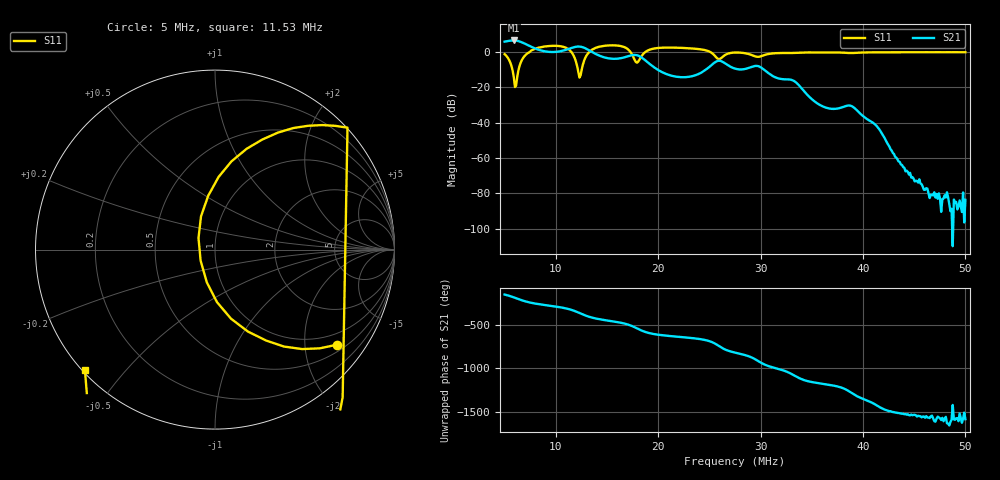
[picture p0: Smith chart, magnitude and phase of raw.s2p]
! S11/S21 only; reverse parameters are placeholders. Device calibration unverified.
! NanoVNA F V2 profile | COM3 | 2026-09-08T12:06:07.0468074-04:00 | device calibration unverified
# HZ S RI R 50
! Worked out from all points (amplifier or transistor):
!   401 points, 5 MHz to 50 MHz, reference 50 ohm
!   highest |S21| = 6.5 dB at 5.9 MHz (marker M1)
!   |S21| within 3 dB of that: start of sweep to 7.39 MHz
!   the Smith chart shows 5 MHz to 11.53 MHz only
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5000000  0.6781 -0.5301  -1.609 -1.1  0 0  0 0
5900000  -0.0458 -0.1822  -2.104 -0.0605  0 0  0 0
7250000  0.5978 0.6938  -0.9695 1.224  0 0  0 0
7812500  0.6777 -0.9535  -0.528 1.196  0 0  0 0
9950000  -0.0385 -1.484  0.238 0.9691  0 0  0 0
1.1525e7  -0.7249 -0.6697  1.025 0.7774  0 0  0 0
1.25375e7  0.2444 0.2075  1.355 -0.2503  0 0  0 0
1.3775e7  1.112 -0.5894  0.4682 -0.7817  0 0  0 0
1.6025e7  0.4927 -1.426  -0.158 -0.6224  0 0  0 0
1.68125e7  -0.1577 -1.305  -0.4025 -0.5907  0 0  0 0
1.74875e7  -0.6769 -0.4216  -0.7157 -0.3796  0 0  0 0
1.8275e7  0.2769 0.6241  -0.697 0.203  0 0  0 0
2.0075e7  1.288 -0.1764  -0.096 0.2812  0 0  0 0
2.435e7  0.8897 -0.7405  0.1607 0.2231  0 0  0 0
2.58125e7  0.4896 -0.4117  0.5436 -0.1081  0 0  0 0
2.75e7  0.861 -0.4165  -0.0393 -0.3345  0 0  0 0
3.0425e7  0.7539 -0.3321  -0.1653 0.25  0 0  0 0
3.50375e7  0.7045 -0.6653  0.00981 -0.0439  0 0  0 0
3.8975e7  0.5422 -0.7503  -0.0246 0.014  0 0  0 0
4.2575e7  0.4424 -0.8686  0.00126 -0.00167  0 0  0 0
4.6625e7  0.2881 -0.9341  -3.4e-05 -8.3e-05  0 0  0 0
5e7  0.1612 -0.9631  -5.4e-05 -3.6e-05  0 0  0 0
